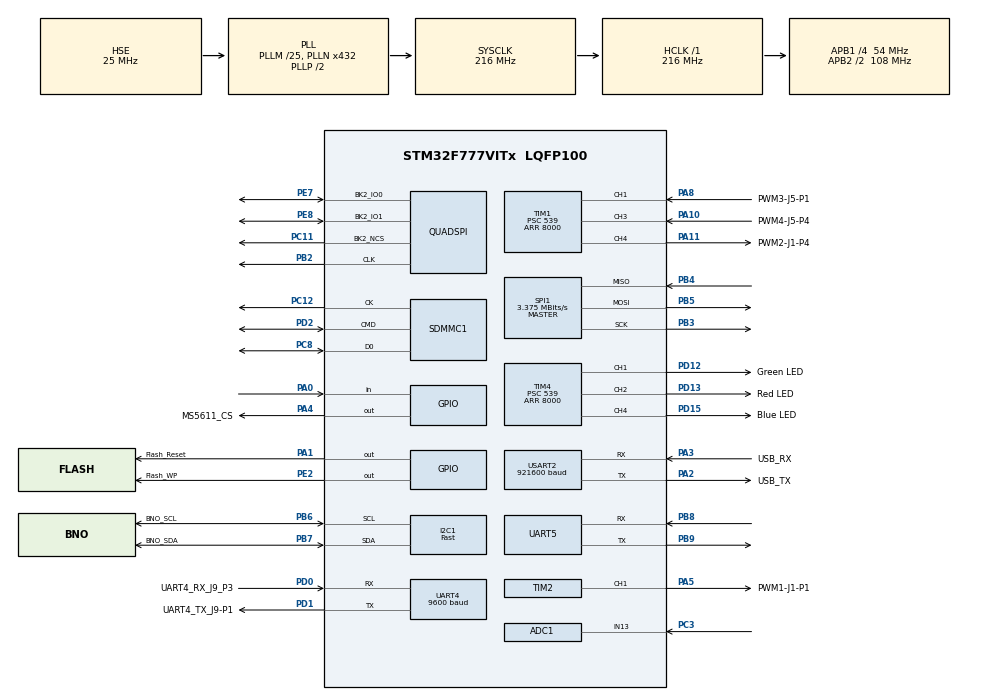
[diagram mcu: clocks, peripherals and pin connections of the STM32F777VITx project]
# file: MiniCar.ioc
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ADC1.Channel-0\#ChannelRegularConversion=ADC_CHANNEL_13
ADC1.ContinuousConvMode=ENABLE
ADC1.DMAContinuousRequests=DISABLE
ADC1.InjNumberOfConversion=0
ADC1.NbrOfConversionFlag=1
ADC1.Rank-0\#ChannelRegularConversion=1
ADC1.SamplingTime-0\#ChannelRegularConversion=ADC_SAMPLETIME_3CYCLES
ADC1.ScanConvMode=ADC_SCAN_ENABLE
ADC1.master=1
Dma.Request0=UART5_RX
Dma.Request1=USART2_RX
Dma.UART5_RX.0.Direction=DMA_PERIPH_TO_MEMORY
Dma.UART5_RX.0.FIFOMode=DMA_FIFOMODE_DISABLE
Dma.UART5_RX.0.Instance=DMA1_Stream0
Dma.UART5_RX.0.MemDataAlignment=DMA_MDATAALIGN_BYTE
Dma.UART5_RX.0.MemInc=DMA_MINC_ENABLE
Dma.UART5_RX.0.Mode=DMA_NORMAL
Dma.UART5_RX.0.PeriphDataAlignment=DMA_PDATAALIGN_BYTE
Dma.UART5_RX.0.PeriphInc=DMA_PINC_DISABLE
Dma.UART5_RX.0.Priority=DMA_PRIORITY_LOW
Dma.USART2_RX.1.Direction=DMA_PERIPH_TO_MEMORY
Dma.USART2_RX.1.FIFOMode=DMA_FIFOMODE_DISABLE
Dma.USART2_RX.1.Instance=DMA1_Stream5
Dma.USART2_RX.1.MemDataAlignment=DMA_MDATAALIGN_BYTE
Dma.USART2_RX.1.MemInc=DMA_MINC_ENABLE
Dma.USART2_RX.1.Mode=DMA_NORMAL
Dma.USART2_RX.1.PeriphDataAlignment=DMA_PDATAALIGN_BYTE
Dma.USART2_RX.1.PeriphInc=DMA_PINC_DISABLE
Dma.USART2_RX.1.Priority=DMA_PRIORITY_LOW
FATFS._FS_RPATH=1
FATFS._MAX_SS=4096
FATFS._MIN_SS=4096
FATFS._USE_CHMOD=1
FATFS._USE_FIND=1
FATFS._USE_LABEL=1
FATFS._USE_LFN=1
I2C1.GeneralCallMode=I2C_GENERALCALL_DISABLE
I2C1.I2C_Speed_Mode=I2C_Fast
I2C1.OwnAddress=0x29
I2C1.Timing=0x6000030D
Mcu.Family=STM32F7
Mcu.Name=STM32F777VITx
Mcu.Package=LQFP100
NVIC.ADC_IRQn=true\:0\:0\:false\:false\:true\:true\:true
NVIC.DMA1_Stream0_IRQn=true\:0\:0\:false\:false\:true\:false\:true
NVIC.DMA1_Stream5_IRQn=true\:0\:0\:false\:false\:true\:false\:true
NVIC.FLASH_IRQn=true\:0\:0\:false\:false\:true\:true\:true
NVIC.I2C1_EV_IRQn=true\:0\:0\:false\:false\:true\:true\:true
NVIC.PriorityGroup=NVIC_PRIORITYGROUP_4
NVIC.QUADSPI_IRQn=true\:0\:0\:false\:false\:true\:true\:true
NVIC.TIM1_BRK_TIM9_IRQn=true\:0\:0\:false\:false\:true\:true\:true
NVIC.TIM1_CC_IRQn=true\:0\:0\:false\:false\:true\:true\:true
NVIC.TIM1_TRG_COM_TIM11_IRQn=true\:0\:0\:false\:false\:true\:true\:true
NVIC.TIM1_UP_TIM10_IRQn=true\:0\:0\:false\:false\:true\:true\:true
NVIC.UART4_IRQn=true\:0\:0\:false\:false\:true\:true\:true
NVIC.UART5_IRQn=true\:0\:0\:false\:false\:true\:true\:true
PA0/WKUP.GPIO_PuPd=GPIO_PULLUP
PA0/WKUP.Signal=GPIO_Input
PA1.GPIO_Label=Flash_Reset
PA1.GPIO_PuPd=GPIO_PULLUP
PA1.PinState=GPIO_PIN_SET
PA1.Signal=GPIO_Output
PA10.GPIO_Label=PWM4-J5-P4
PA10.Signal=S_TIM1_CH3
PA11.GPIO_Label=PWM2-J1-P4
PA11.Signal=S_TIM1_CH4
PA13.Mode=Serial_Wire
PA13.Signal=SYS_JTMS-SWDIO
PA14.Mode=Serial_Wire
PA14.Signal=SYS_JTCK-SWCLK
PA2.GPIO_Label=USB_TX
PA2.Mode=Asynchronous
PA2.Signal=USART2_TX
PA3.GPIO_Label=USB_RX
PA3.Mode=Asynchronous
PA3.Signal=USART2_RX
PA4.GPIO_Label=MS5611_CS
PA4.Signal=GPIO_Output
PA5.GPIO_Label=PWM1-J1-P1
PA5.Signal=S_TIM2_CH1_ETR
PA8.GPIO_Label=PWM3-J5-P1
PA8.Signal=S_TIM1_CH1
PB2.Mode=Single Bank 2 2IOs
PB2.Signal=QUADSPI_CLK
PB3.Mode=Full_Duplex_Master
PB3.Signal=SPI1_SCK
PB4.Mode=Full_Duplex_Master
PB4.Signal=SPI1_MISO
PB5.Mode=Full_Duplex_Master
PB5.Signal=SPI1_MOSI
PB6.GPIO_Label=BNO_SCL
PB6.Mode=I2C
PB6.Signal=I2C1_SCL
PB7.GPIO_Label=BNO_SDA
PB7.Mode=I2C
PB7.Signal=I2C1_SDA
PB8.Mode=Asynchronous
PB8.Signal=UART5_RX
PB9.Mode=Asynchronous
PB9.Signal=UART5_TX
PC11.Mode=Single Bank 2 2IOs
PC11.Signal=QUADSPI_BK2_NCS
PC12.Mode=mmc_1_bit
PC12.Signal=SDMMC1_CK
PC13.GPIO_Label=AntiTamper
PC13.Mode=SYS_WakeUp3
PC13.Signal=SYS_WKUP4
PC14/OSC32_IN.Mode=LSE-External-Oscillator
PC14/OSC32_IN.Signal=RCC_OSC32_IN
PC15/OSC32_OUT.Mode=LSE-External-Oscillator
PC15/OSC32_OUT.Signal=RCC_OSC32_OUT
PC3.Signal=ADCx_IN13
PC8.Mode=mmc_1_bit
PC8.Signal=SDMMC1_D0
PD0.GPIO_Label=UART4_RX_J9_P3
PD0.Mode=Asynchronous
PD0.Signal=UART4_RX
PD1.GPIO_Label=UART4_TX_J9-P1
PD1.Mode=Asynchronous
PD1.Signal=UART4_TX
PD12.GPIO_Label=Green LED
PD12.Signal=S_TIM4_CH1
PD13.GPIO_Label=Red LED
PD13.Signal=S_TIM4_CH2
PD15.GPIO_Label=Blue LED
PD15.Signal=S_TIM4_CH4
PD2.Mode=mmc_1_bit
PD2.Signal=SDMMC1_CMD
PE2.GPIO_Label=Flash_WP
PE2.GPIO_PuPd=GPIO_PULLUP
PE2.PinState=GPIO_PIN_SET
PE2.Signal=GPIO_Output
PE7.Mode=Single Bank 2 2IOs
PE7.Signal=QUADSPI_BK2_IO0
PE8.Mode=Single Bank 2 2IOs
PE8.Signal=QUADSPI_BK2_IO1
PH0/OSC_IN.Mode=HSE-External-Oscillator
PH0/OSC_IN.Signal=RCC_OSC_IN
PH1/OSC_OUT.Mode=HSE-External-Oscillator
PH1/OSC_OUT.Signal=RCC_OSC_OUT
ProjectManager.HeapSize=0x2000
ProjectManager.StackSize=0x4000
ProjectManager.TargetToolchain=STM32CubeIDE
QUADSPI.FifoThreshold=32
QUADSPI.FlashSize=23
QUADSPI.SampleShifting=QSPI_SAMPLE_SHIFTING_HALFCYCLE
RCC.AHBFreq_Value=216000000
RCC.APB1CLKDivider=RCC_HCLK_DIV4
RCC.APB1Freq_Value=54000000
RCC.APB1TimFreq_Value=216000000
RCC.APB2CLKDivider=RCC_HCLK_DIV2
RCC.APB2Freq_Value=108000000
RCC.APB2TimFreq_Value=216000000
RCC.CortexFreq_Value=216000000
RCC.EnbaleCSS=true
RCC.HCLKFreq_Value=216000000
RCC.HSE_VALUE=25000000
RCC.HSI_VALUE=16000000
RCC.LSE_Timout=5000
RCC.PLLM=25
RCC.PLLN=432
RCC.PLLQ=9
RCC.PLLSourceVirtual=RCC_PLLSOURCE_HSE
RCC.PWR_Regulator_Voltage_Scale=PWR_REGULATOR_VOLTAGE_SCALE1
RCC.RCC_RTC_Clock_Source_FROM_HSE=RCC_RTCCLKSOURCE_HSE_DIV25
RCC.RCC_TIM_PRescaler_Selection=RCC_TIMPRES_ACTIVATED
RCC.RTCClockSelection=RCC_RTCCLKSOURCE_HSE_DIV25
RCC.SDMMCClockSelection=RCC_SDMMC1CLKSOURCE_CLK48
RCC.SYSCLKFreq_VALUE=216000000
RCC.SYSCLKSource=RCC_SYSCLKSOURCE_PLLCLK
RCC.USBFreq_Value=48000000
RCC.VCOOutputFreq_Value=432000000
RTC.AsynchPrediv=99
RTC.Format=RTC_FORMAT_BIN
RTC.SynchPrediv=9999
RTC.Year=20
SH.ADCx_IN13.0=ADC1_IN13,IN13
SH.S_TIM1_CH1.0=TIM1_CH1,Input_Capture1_from_TI1
SH.S_TIM1_CH3.0=TIM1_CH3,Input_Capture3_from_TI3
SH.S_TIM1_CH4.0=TIM1_CH4,PWM Generation4 CH4
SH.S_TIM2_CH1_ETR.0=TIM2_CH1,PWM Generation1 CH1
SH.S_TIM4_CH1.0=TIM4_CH1,PWM Generation1 CH1
SH.S_TIM4_CH2.0=TIM4_CH2,PWM Generation2 CH2
SH.S_TIM4_CH4.0=TIM4_CH4,PWM Generation4 CH4
SPI1.BaudRatePrescaler=SPI_BAUDRATEPRESCALER_32
SPI1.CalculateBaudRate=3.375 MBits/s
SPI1.DataSize=SPI_DATASIZE_8BIT
SPI1.Direction=SPI_DIRECTION_2LINES
SPI1.Mode=SPI_MODE_MASTER
SPI1.VirtualType=VM_MASTER
TIM1.AutoReloadPreload=TIM_AUTORELOAD_PRELOAD_ENABLE
TIM1.Channel-Input_Capture1_from_TI1=TIM_CHANNEL_1
TIM1.Channel-Input_Capture3_from_TI3=TIM_CHANNEL_3
TIM1.Channel-PWM\ Generation4\ CH4=TIM_CHANNEL_4
TIM1.ICPolarity_CH1=TIM_INPUTCHANNELPOLARITY_BOTHEDGE
TIM1.ICPolarity_CH3=TIM_INPUTCHANNELPOLARITY_BOTHEDGE
TIM1.Period=8000
TIM1.Prescaler=539
TIM1.Pulse-PWM\ Generation4\ CH4=600
TIM1.TIM_MasterOutputTrigger=TIM_TRGO_RESET
TIM1.TIM_MasterOutputTrigger2=TIM_TRGO2_RESET
TIM2.AutoReloadPreload=TIM_AUTORELOAD_PRELOAD_ENABLE
TIM2.Channel-PWM\ Generation1\ CH1=TIM_CHANNEL_1
TIM2.Period=8000
TIM2.Prescaler=539
TIM2.Pulse-PWM\ Generation1\ CH1=600
TIM4.AutoReloadPreload=TIM_AUTORELOAD_PRELOAD_ENABLE
TIM4.Channel-PWM\ Generation1\ CH1=TIM_CHANNEL_1
TIM4.Channel-PWM\ Generation2\ CH2=TIM_CHANNEL_2
TIM4.Channel-PWM\ Generation4\ CH4=TIM_CHANNEL_4
TIM4.Period=8000
TIM4.Prescaler=539
TIM4.Pulse-PWM\ Generation4\ CH4=0
UART4.BaudRate=9600
UART4.StopBits=UART_STOPBITS_2
UART5.OverSampling=UART_OVERSAMPLING_8
UART5.OverrunDisableParam=UART_ADVFEATURE_OVERRUN_DISABLE
USART2.BaudRate=921600
USART2.OverrunDisableParam=ADVFEATURE_OVERRUN_DISABLE
USART2.VirtualMode-Asynchronous=VM_ASYNC
VP_FATFS_VS_Generic.Mode=User_defined
VP_RTC_VS_RTC_Activate.Mode=RTC_Enabled
VP_RTC_VS_RTC_Calendar.Mode=RTC_Calendar
board=custom

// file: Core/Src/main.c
/* USER CODE BEGIN Header */
/**
 ******************************************************************************
 * @file           : main.c
 * @brief          : Main program body
 ******************************************************************************
 * @attention
 *
 * <h2><center>&copy; Copyright (c) 2020 STMicroelectronics.
 * All rights reserved.</center></h2>
 *
 * This software component is licensed by ST under BSD 3-Clause license,
 * the "License"; You may not use this file except in compliance with the
 * License. You may obtain a copy of the License at:
 *                        opensource.org/licenses/BSD-3-Clause
 *
 ******************************************************************************
 */
/* USER CODE END Header */
#include "main.h"
#include "fatfs.h"

/* USER CODE BEGIN Includes */
#include "stdio.h"
#include "string.h"
#include "stdint.h"
#include "PWMControl.h"
#include "LED.h"
#include "bno055.h"
#include "math.h"
#include "ff.h"
#include "ms5611.h"
#include "terminal.h"
#include "PushButton.h"
#include "FlashQSPIAgent.h"
#include "bno055_support.h"
#include "SerialAgent.h"
//#include "includes.h"
//#include "typedefs.h"
/* USER CODE END Includes */

ADC_HandleTypeDef hadc1;

I2C_HandleTypeDef hi2c1;

QSPI_HandleTypeDef hqspi;

RTC_HandleTypeDef hrtc;

MMC_HandleTypeDef hmmc1;

SPI_HandleTypeDef hspi1;

TIM_HandleTypeDef htim1;
TIM_HandleTypeDef htim2;
TIM_HandleTypeDef htim4;

UART_HandleTypeDef huart4;
UART_HandleTypeDef huart5;
UART_HandleTypeDef huart2;
DMA_HandleTypeDef hdma_uart5_rx;
DMA_HandleTypeDef hdma_usart2_rx;

/* USER CODE BEGIN PV */
char USBRXArray[1024] = {0};
char UART5RXArray[256] = {0};
char UART5TXArray[256] = {0};
char USBTXArray[4096] = "";

char TerminalBuffer[1024] = "";

char FileReadBuffer[1024] = "";

struct bno055_t bno055;
s32 comres = BNO055_ERROR;
u8 power_mode = BNO055_INIT_VALUE;
s16 accel_datax = BNO055_INIT_VALUE;
s16 accel_datay = BNO055_INIT_VALUE;
s16 accel_dataz = BNO055_INIT_VALUE;
double d_euler_data_h = BNO055_INIT_VALUE;
double d_euler_data_r = BNO055_INIT_VALUE;
double d_euler_data_p = BNO055_INIT_VALUE;
struct bno055_accel_t accel_xyz;
struct bno055_euler_double_t d_euler_hpr;
struct bno055_gravity_double_t d_gravity_xyz;
struct bno055_mag_double_t d_mag_xyz;

double Roll = 0;
double Pitch = 0;
double Yaw = 0;

double vBat = 0;

bool isNewMagDataAvailable = false;
bool MagWasInMax = true;
bool MagWasInMin = false;

bool ActiveLog = false;
bool isDebugMode = false;

FRESULT FS_ret2;

uint16_t RR1 = 0;
uint16_t RR2 = 0;
uint16_t RR3 = 0;
uint16_t SpeedCounter = 0;
uint16_t MeasuredRPM = 0;

uint32_t LastRPMCycle = 0;
uint32_t NumberOfByteRet = 0;
uint32_t LastBLERead = 0;
uint32_t LastTerminalRead = 0;
uint32_t BytesWritten = 0;
uint32_t LastBatteryMeasurement = 0;
uint32_t LastCRSFMessage = 0;
uint32_t LastDiffPrint = 0;
uint32_t PWMValue = 0;

uint8_t MID = 0;
uint8_t DID = 0;
uint8_t FinalAngle = 90;
uint8_t FinalPower = 0;
uint8_t CurrentAngle = 0;
uint8_t CurrentPower = 0;
uint8_t ret = 0;

//HAL_StatusTypeDef ret;
RTC_TamperTypeDef LocalsTamper;
/* USER CODE END PV */

void SystemClock_Config(void);
static void MX_GPIO_Init(void);
static void MX_DMA_Init(void);
static void MX_TIM4_Init(void);
static void MX_TIM1_Init(void);
static void MX_USART2_UART_Init(void);
static void MX_I2C1_Init(void);
static void MX_QUADSPI_Init(void);
static void MX_SDMMC1_MMC_Init(void);
static void MX_SPI1_Init(void);
static void MX_ADC1_Init(void);
static void MX_RTC_Init(void);
static void MX_TIM2_Init(void);
static void MX_UART5_Init(void);
static void MX_UART4_Init(void);
/* USER CODE BEGIN PFP */

double measureBattery();
/* USER CODE END PFP */

int main(void)
{
  /* USER CODE BEGIN 1 */
  //SCB->VTOR = 0x8020000;
  /* USER CODE END 1 */

  /* MCU Configuration--------------------------------------------------------*/

  /* Reset of all peripherals, Initializes the Flash interface and the Systick. */
  HAL_Init();

  /* Configure the system clock */
  SystemClock_Config();

  /* Initialize all configured peripherals */
  MX_GPIO_Init();
  MX_DMA_Init();
  MX_TIM4_Init();
  MX_TIM1_Init();
  MX_USART2_UART_Init();
  MX_I2C1_Init();
  MX_FATFS_Init();
  MX_QUADSPI_Init();
  MX_SDMMC1_MMC_Init();
  MX_SPI1_Init();
  MX_ADC1_Init();
  MX_RTC_Init();
  MX_TIM2_Init();
  MX_UART5_Init();
  MX_UART4_Init();
  /* USER CODE BEGIN 2 */
  HAL_TIM_PWM_Init(&htim1); // PWM Generation Servos
  HAL_TIM_PWM_Init(&htim4); // LED
  HAL_ADC_Start(&hadc1);    // Battery
                            //	HAL_TIM_IC_Init(&htim2);		//
                            //	HAL_TIM_IC_Start(&htim2, TIM_CHANNEL_1);
  RTC_TimeTypeDef LocalTime;
  RTC_TimeTypeDef ReadTime;
  RTC_DateTypeDef LocalDate;

  //	vBat = measureBattery();
  //
  //	MS56XXInit();

  //	HAL_GPIO_WritePin(GPIOC, GPIO_PIN_11, GPIO_PIN_RESET); 	// QSPI CS Low
  //	HAL_Delay(15);
  HAL_GPIO_WritePin(GPIOE, GPIO_PIN_2, GPIO_PIN_SET); // QSPI WP High
  HAL_Delay(1);
  HAL_GPIO_WritePin(GPIOA, GPIO_PIN_1, GPIO_PIN_RESET); // QSPI RST High
  HAL_Delay(1);
  HAL_GPIO_WritePin(GPIOA, GPIO_PIN_1, GPIO_PIN_SET); // QSPI RST High
  HAL_Delay(2);

  QSPI_Init();
//  Flash example
  QSPI_Read_Status_registers(&hqspi, &RR1, &RR2, &RR3);
  RR2 = 0x22;
  RR3 = 0x60;
  QSPI_Reset_Status_registers(&hqspi, &RR1, &RR2, &RR3);
  HAL_Delay(40);
  QSPI_READMD(&MID, &DID);

  QSPI_Read_Status_registers(&hqspi, &RR1, &RR2, &RR3);
  do
  {
    HAL_Delay(1);
    FS_ret2 = f_mount(&USERFatFS, "\\", 0);
  } while (FS_ret2 != FR_OK);

  DWORD free_clusters, free_sectors, total_sectors;

  FATFS *getFreeFs;
  uint8_t buffer[_MAX_SS];
  FS_ret2 = f_getfree("\\", &free_clusters, &getFreeFs);
  if (FS_ret2 != FR_OK)
  {
    FS_ret2 = f_mkfs("\\", FM_FAT, 0, buffer, sizeof(buffer));
  }

  total_sectors = (getFreeFs->n_fatent - 2) * getFreeFs->csize;
  free_sectors = free_clusters * getFreeFs->csize;

  vBat = measureBattery();
  MS56XXInit();
  BNOInit();
  led_init();
  SetRGB(0, 250, 0);

//  LocalsTamper.Trigger = RTC_TAMPERTRIGGER_FALLINGEDGE;
//  LocalsTamper.Tamper = RTC_TAMPER_1;
//  LocalsTamper.TamperPullUp = RTC_TAMPER_PULLUP_ENABLE;
//  LocalsTamper.Interrupt = RTC_TAMPER1_INTERRUPT;
//  HAL_RTCEx_SetTamper(&hrtc, &LocalsTamper);

//  readBNOAnglesDeg();
//  Read Data from terminal - Example
//  HAL_UART_Receive_DMA(&huart2, USBRXArray, 1024);
//  Write Data to terminal - Example
//  ret = HAL_UART_Transmit_DMA(&huart2, USBTXArray, 1024);

//  HAL_UART_Receive_DMA(&huart5, UART5RXArray, 150);
//  NumberOfByteRet = CheckDataFromUART();
  LastBLERead = HAL_GetTick();
  HAL_Delay(100);
//  *(volatile uint32_t *)0xbadcafe;

  start_pwm1(PWMValue); // Control Servo
  start_pwm2(FinalPower * 80);   // Control Car Motor
  start_pwm3();

  /* USER CODE END 2 */

  /* Infinite loop */
  while (1)
  {

    /* USER CODE BEGIN 3 */
	  readBNOAnglesDeg();
//	  if ((fabs(Roll) < 30) && (fabs(Pitch) < 30))
//	  {
//		  SetRGB(0, 250, 0);
//	  } else if ((fabs(Roll) < 65) && (fabs(Pitch) < 65))
//	  {
//		  SetRGB(250, 250, 0);
//	  } else
//	  {
//		  SetRGB(250, 0, 0);
//	  }
//	  sprintf(USBTXArray, "%6.3f, Roll: %6.3f, Pitch: %6.3f, Yaw: %6.3f\r\n",
//			  CurrentTime(), Roll, Pitch, Yaw);
//	  SendToScreen();

	  MS56XXCyclicRead();
	  if (isNewMS56XXDataAvailable)
	  {
		  sprintf(USBTXArray, "%6.3f, Pressure: %d, Temp: %d\r\n",
				  CurrentTime(), P, TEMP);
		  Print(false, true, isDebugMode);
		  isNewMS56XXDataAvailable = false;
	  }

    CheckButton();
//    readBNOMagnetometer();
//    if (isNewMagDataAvailable)
//    {
//      sprintf(USBTXArray, "%6.3f, MagX: %6.3f, MagY: %6.3f, MagZ: %6.3f\r\n",
//              CurrentTime(), d_mag_xyz.x, d_mag_xyz.y, d_mag_xyz.z);
//      SendToScreen();
//    }

//    example RTC
//    HAL_Delay(1);
//    HAL_RTC_GetTime(&hrtc, &ReadTime, FORMAT_BIN);
//    HAL_RTC_GetDate(&hrtc, &LocalDate, FORMAT_BIN);
//    sprintf(USBTXArray, "%6.3f, %02d:%02d:%02d.%03d\r\n",
//            CurrentTime(), ReadTime.Hours, ReadTime.Minutes, ReadTime.Seconds, (9999 - ReadTime.SubSeconds) * 1000 / 9999);
//    SendToScreen();
//	  HAL_RTCEx_GetTimeStamp(&hrtc, &ReadTime, &LocalDate, FORMAT_BIN);

//	  MeasuredRPM = RPMMeasurement();
//    LastRPMCycle++;
//    sprintf(UART5TXArray, "%d\r\n",LastRPMCycle);
    if (HAL_GetTick() - LastTerminalRead >= 100)
    {
        getCMD();
        LastTerminalRead = HAL_GetTick();
    }
//	Read Sticks messages received through BlueTooth unit
//    if (HAL_GetTick() - LastBLERead >= 100)
//    {
//    	LastBLERead = HAL_GetTick();
//    	NumberOfByteRet = CheckDataFromUART();
//    	ret = ParseRFMessage(&CurrentAngle, &CurrentPower);
//    	FinalAngle = CurrentAngle * (1 - ret) + FinalAngle * ret;
//    	FinalPower = CurrentPower * (1 - ret) + FinalPower * ret;
//
//    	////			  sprintf(USBTXArray, "%6.3f, ",CurrentTime());
//    	////			  SendToScreen(false);
//    	////			  memcpy(USBTXArray,UART5RXArray,NumberOfByteRet);
//    	////			  SendToScreen(true);
//    	////			  sprintf(USBTXArray,"Length of string a = %d \n",strlen(UART5RXArray));
//    	////			  SendToScreen(true);
//    	//			  sprintf(USBTXArray,"%6.3f, Angle: %d, Power: %d ret: %d \r\n",CurrentTime(), CurrentAngle, CurrentPower, ret);
//    	//			  SendToScreen(false);
//    	sprintf(USBTXArray,"%6.3f, FAngle: %d, FPower: %d ret: %d \r\n",CurrentTime(), FinalAngle, FinalPower, ret);
//    	SendToScreen(false);
//    }
    PWMValue = 1000 * ((2 - 1) * (double)FinalAngle / (135.0 - 45.0) + 0.5);
    set_pwm1(PWMValue);
    start_pwm2(FinalPower * 80);   // Control Car Motor

    if (HAL_GetTick() - LastRPMCycle >= 1000)
    {
    	LastRPMCycle = HAL_GetTick();
    	sprintf(USBTXArray, "%6.3f, \r\n",CurrentTime());
    	Print(false, true, isDebugMode);
//    	FS_ret2 = f_sync(&USERFile);
    }

    if (HAL_GetTick() - LastBatteryMeasurement > 5 * 60 * 1000)
    {
    	LastBatteryMeasurement = HAL_GetTick();
    	vBat = measureBattery();
    }
    ShowStateLED();
    if (HAL_GetTick() - LastDiffPrint > 100)
    {
    	sprintf(USBTXArray, "%6.3f, Difference: %d [mSec], Frequency: %d [Hz] \r\n",CurrentTime(), Difference * 10 / 4, Frequency);
    	Print(false, false, true);
    	LastDiffPrint = HAL_GetTick();
    }

    //
  }
  /* USER CODE END 3 */
}

void SystemClock_Config(void)
{
  RCC_OscInitTypeDef RCC_OscInitStruct = {0};
  RCC_ClkInitTypeDef RCC_ClkInitStruct = {0};
  RCC_PeriphCLKInitTypeDef PeriphClkInitStruct = {0};

  /** Configure LSE Drive Capability
  */
  HAL_PWR_EnableBkUpAccess();
  /** Configure the main internal regulator output voltage
  */
  __HAL_RCC_PWR_CLK_ENABLE();
  __HAL_PWR_VOLTAGESCALING_CONFIG(PWR_REGULATOR_VOLTAGE_SCALE1);
  /** Initializes the RCC Oscillators according to the specified parameters
  * in the RCC_OscInitTypeDef structure.
  */
  RCC_OscInitStruct.OscillatorType = RCC_OSCILLATORTYPE_HSE;
  RCC_OscInitStruct.HSEState = RCC_HSE_ON;
  RCC_OscInitStruct.PLL.PLLState = RCC_PLL_ON;
  RCC_OscInitStruct.PLL.PLLSource = RCC_PLLSOURCE_HSE;
  RCC_OscInitStruct.PLL.PLLM = 25;
  RCC_OscInitStruct.PLL.PLLN = 432;
  RCC_OscInitStruct.PLL.PLLP = RCC_PLLP_DIV2;
  RCC_OscInitStruct.PLL.PLLQ = 9;
  if (HAL_RCC_OscConfig(&RCC_OscInitStruct) != HAL_OK)
  {
    Error_Handler();
  }
  /** Activate the Over-Drive mode
  */
  if (HAL_PWREx_EnableOverDrive() != HAL_OK)
  {
    Error_Handler();
  }
  /** Initializes the CPU, AHB and APB buses clocks
  */
  RCC_ClkInitStruct.ClockType = RCC_CLOCKTYPE_HCLK|RCC_CLOCKTYPE_SYSCLK
                              |RCC_CLOCKTYPE_PCLK1|RCC_CLOCKTYPE_PCLK2;
  RCC_ClkInitStruct.SYSCLKSource = RCC_SYSCLKSOURCE_PLLCLK;
  RCC_ClkInitStruct.AHBCLKDivider = RCC_SYSCLK_DIV1;
  RCC_ClkInitStruct.APB1CLKDivider = RCC_HCLK_DIV4;
  RCC_ClkInitStruct.APB2CLKDivider = RCC_HCLK_DIV2;

  if (HAL_RCC_ClockConfig(&RCC_ClkInitStruct, FLASH_LATENCY_7) != HAL_OK)
  {
    Error_Handler();
  }
  PeriphClkInitStruct.PeriphClockSelection = RCC_PERIPHCLK_TIM|RCC_PERIPHCLK_RTC
                              |RCC_PERIPHCLK_USART2|RCC_PERIPHCLK_UART4
                              |RCC_PERIPHCLK_UART5|RCC_PERIPHCLK_I2C1
                              |RCC_PERIPHCLK_SDMMC1|RCC_PERIPHCLK_CLK48;
  PeriphClkInitStruct.RTCClockSelection = RCC_RTCCLKSOURCE_HSE_DIV25;
  PeriphClkInitStruct.Usart2ClockSelection = RCC_USART2CLKSOURCE_PCLK1;
  PeriphClkInitStruct.Uart4ClockSelection = RCC_UART4CLKSOURCE_PCLK1;
  PeriphClkInitStruct.Uart5ClockSelection = RCC_UART5CLKSOURCE_PCLK1;
  PeriphClkInitStruct.I2c1ClockSelection = RCC_I2C1CLKSOURCE_PCLK1;
  PeriphClkInitStruct.Clk48ClockSelection = RCC_CLK48SOURCE_PLL;
  PeriphClkInitStruct.Sdmmc1ClockSelection = RCC_SDMMC1CLKSOURCE_CLK48;
  PeriphClkInitStruct.TIMPresSelection = RCC_TIMPRES_ACTIVATED;

  if (HAL_RCCEx_PeriphCLKConfig(&PeriphClkInitStruct) != HAL_OK)
  {
    Error_Handler();
  }
  /** Enables the Clock Security System
  */
  HAL_RCC_EnableCSS();
}

static void MX_ADC1_Init(void)
{

  ADC_ChannelConfTypeDef sConfig = {0};

  /** Configure the global features of the ADC (Clock, Resolution, Data Alignment and number of conversion)
  */
  hadc1.Instance = ADC1;
  hadc1.Init.ClockPrescaler = ADC_CLOCK_SYNC_PCLK_DIV4;
  hadc1.Init.Resolution = ADC_RESOLUTION_12B;
  hadc1.Init.ScanConvMode = ADC_SCAN_ENABLE;
  hadc1.Init.ContinuousConvMode = ENABLE;
  hadc1.Init.DiscontinuousConvMode = DISABLE;
  hadc1.Init.ExternalTrigConvEdge = ADC_EXTERNALTRIGCONVEDGE_NONE;
  hadc1.Init.ExternalTrigConv = ADC_SOFTWARE_START;
  hadc1.Init.DataAlign = ADC_DATAALIGN_RIGHT;
  hadc1.Init.NbrOfConversion = 1;
  hadc1.Init.DMAContinuousRequests = DISABLE;
  hadc1.Init.EOCSelection = ADC_EOC_SINGLE_CONV;
  if (HAL_ADC_Init(&hadc1) != HAL_OK)
  {
    Error_Handler();
  }
  /** Configure for the selected ADC regular channel its corresponding rank in the sequencer and its sample time.
  */
  sConfig.Channel = ADC_CHANNEL_13;
  sConfig.Rank = ADC_REGULAR_RANK_1;
  sConfig.SamplingTime = ADC_SAMPLETIME_3CYCLES;
  if (HAL_ADC_ConfigChannel(&hadc1, &sConfig) != HAL_OK)
  {
    Error_Handler();
  }

}

static void MX_I2C1_Init(void)
{

  hi2c1.Instance = I2C1;
  hi2c1.Init.Timing = 0x6000030D;
  hi2c1.Init.OwnAddress1 = 82;
  hi2c1.Init.AddressingMode = I2C_ADDRESSINGMODE_7BIT;
  hi2c1.Init.DualAddressMode = I2C_DUALADDRESS_DISABLE;
  hi2c1.Init.OwnAddress2 = 0;
  hi2c1.Init.OwnAddress2Masks = I2C_OA2_NOMASK;
  hi2c1.Init.GeneralCallMode = I2C_GENERALCALL_DISABLE;
  hi2c1.Init.NoStretchMode = I2C_NOSTRETCH_DISABLE;
  if (HAL_I2C_Init(&hi2c1) != HAL_OK)
  {
    Error_Handler();
  }
  /** Configure Analogue filter
  */
  if (HAL_I2CEx_ConfigAnalogFilter(&hi2c1, I2C_ANALOGFILTER_ENABLE) != HAL_OK)
  {
    Error_Handler();
  }
  /** Configure Digital filter
  */
  if (HAL_I2CEx_ConfigDigitalFilter(&hi2c1, 0) != HAL_OK)
  {
    Error_Handler();
  }

}

static void MX_QUADSPI_Init(void)
{

  /* QUADSPI parameter configuration*/
  hqspi.Instance = QUADSPI;
  hqspi.Init.ClockPrescaler = 255;
  hqspi.Init.FifoThreshold = 32;
  hqspi.Init.SampleShifting = QSPI_SAMPLE_SHIFTING_HALFCYCLE;
  hqspi.Init.FlashSize = 23;
  hqspi.Init.ChipSelectHighTime = QSPI_CS_HIGH_TIME_1_CYCLE;
  hqspi.Init.ClockMode = QSPI_CLOCK_MODE_0;
  hqspi.Init.FlashID = QSPI_FLASH_ID_2;
  hqspi.Init.DualFlash = QSPI_DUALFLASH_DISABLE;
  if (HAL_QSPI_Init(&hqspi) != HAL_OK)
  {
    Error_Handler();
  }

}

static void MX_RTC_Init(void)
{

  RTC_TimeTypeDef sTime = {0};
  RTC_DateTypeDef sDate = {0};

  /** Initialize RTC Only
  */
  hrtc.Instance = RTC;
  hrtc.Init.HourFormat = RTC_HOURFORMAT_24;
  hrtc.Init.AsynchPrediv = 99;
  hrtc.Init.SynchPrediv = 9999;
  hrtc.Init.OutPut = RTC_OUTPUT_DISABLE;
  hrtc.Init.OutPutPolarity = RTC_OUTPUT_POLARITY_HIGH;
  hrtc.Init.OutPutType = RTC_OUTPUT_TYPE_OPENDRAIN;
  if (HAL_RTC_Init(&hrtc) != HAL_OK)
  {
    Error_Handler();
  }

  /** Initialize RTC and set the Time and Date
  */
  sTime.Hours = 0;
  sTime.Minutes = 0;
  sTime.Seconds = 0;
  sTime.DayLightSaving = RTC_DAYLIGHTSAVING_NONE;
  sTime.StoreOperation = RTC_STOREOPERATION_RESET;
  if (HAL_RTC_SetTime(&hrtc, &sTime, RTC_FORMAT_BIN) != HAL_OK)
  {
    Error_Handler();
  }
  sDate.WeekDay = RTC_WEEKDAY_MONDAY;
  sDate.Month = RTC_MONTH_JANUARY;
  sDate.Date = 1;
  sDate.Year = 20;

  if (HAL_RTC_SetDate(&hrtc, &sDate, RTC_FORMAT_BIN) != HAL_OK)
  {
    Error_Handler();
  }

}

static void MX_SDMMC1_MMC_Init(void)
{

  hmmc1.Instance = SDMMC1;
  hmmc1.Init.ClockEdge = SDMMC_CLOCK_EDGE_RISING;
  hmmc1.Init.ClockBypass = SDMMC_CLOCK_BYPASS_DISABLE;
  hmmc1.Init.ClockPowerSave = SDMMC_CLOCK_POWER_SAVE_DISABLE;
  hmmc1.Init.BusWide = SDMMC_BUS_WIDE_1B;
  hmmc1.Init.HardwareFlowControl = SDMMC_HARDWARE_FLOW_CONTROL_DISABLE;
  hmmc1.Init.ClockDiv = 0;
  if (HAL_MMC_Init(&hmmc1) != HAL_OK)
  {
    Error_Handler();
  }

}

static void MX_SPI1_Init(void)
{

  /* SPI1 parameter configuration*/
  hspi1.Instance = SPI1;
  hspi1.Init.Mode = SPI_MODE_MASTER;
  hspi1.Init.Direction = SPI_DIRECTION_2LINES;
  hspi1.Init.DataSize = SPI_DATASIZE_8BIT;
  hspi1.Init.CLKPolarity = SPI_POLARITY_LOW;
  hspi1.Init.CLKPhase = SPI_PHASE_1EDGE;
  hspi1.Init.NSS = SPI_NSS_SOFT;
  hspi1.Init.BaudRatePrescaler = SPI_BAUDRATEPRESCALER_32;
  hspi1.Init.FirstBit = SPI_FIRSTBIT_MSB;
  hspi1.Init.TIMode = SPI_TIMODE_DISABLE;
  hspi1.Init.CRCCalculation = SPI_CRCCALCULATION_DISABLE;
  hspi1.Init.CRCPolynomial = 7;
  hspi1.Init.CRCLength = SPI_CRC_LENGTH_DATASIZE;
  hspi1.Init.NSSPMode = SPI_NSS_PULSE_ENABLE;
  if (HAL_SPI_Init(&hspi1) != HAL_OK)
  {
    Error_Handler();
  }

}

static void MX_TIM1_Init(void)
{

  TIM_MasterConfigTypeDef sMasterConfig = {0};
  TIM_IC_InitTypeDef sConfigIC = {0};
  TIM_OC_InitTypeDef sConfigOC = {0};
  TIM_BreakDeadTimeConfigTypeDef sBreakDeadTimeConfig = {0};

  htim1.Instance = TIM1;
  htim1.Init.Prescaler = 539;
  htim1.Init.CounterMode = TIM_COUNTERMODE_UP;
  htim1.Init.Period = 8000;
  htim1.Init.ClockDivision = TIM_CLOCKDIVISION_DIV1;
  htim1.Init.RepetitionCounter = 0;
  htim1.Init.AutoReloadPreload = TIM_AUTORELOAD_PRELOAD_ENABLE;
  if (HAL_TIM_IC_Init(&htim1) != HAL_OK)
  {
    Error_Handler();
  }
  if (HAL_TIM_PWM_Init(&htim1) != HAL_OK)
  {
    Error_Handler();
  }
  sMasterConfig.MasterOutputTrigger = TIM_TRGO_RESET;
  sMasterConfig.MasterOutputTrigger2 = TIM_TRGO2_RESET;
  sMasterConfig.MasterSlaveMode = TIM_MASTERSLAVEMODE_DISABLE;
  if (HAL_TIMEx_MasterConfigSynchronization(&htim1, &sMasterConfig) != HAL_OK)
  {
    Error_Handler();
  }
  sConfigIC.ICPolarity = TIM_INPUTCHANNELPOLARITY_BOTHEDGE;
  sConfigIC.ICSelection = TIM_ICSELECTION_DIRECTTI;
  sConfigIC.ICPrescaler = TIM_ICPSC_DIV1;
  sConfigIC.ICFilter = 0;
  if (HAL_TIM_IC_ConfigChannel(&htim1, &sConfigIC, TIM_CHANNEL_1) != HAL_OK)
  {
    Error_Handler();
  }
  if (HAL_TIM_IC_ConfigChannel(&htim1, &sConfigIC, TIM_CHANNEL_3) != HAL_OK)
  {
    Error_Handler();
  }
  sConfigOC.OCMode = TIM_OCMODE_PWM1;
  sConfigOC.Pulse = 600;
  sConfigOC.OCPolarity = TIM_OCPOLARITY_HIGH;
  sConfigOC.OCFastMode = TIM_OCFAST_DISABLE;
  sConfigOC.OCIdleState = TIM_OCIDLESTATE_RESET;
  sConfigOC.OCNIdleState = TIM_OCNIDLESTATE_RESET;
  if (HAL_TIM_PWM_ConfigChannel(&htim1, &sConfigOC, TIM_CHANNEL_4) != HAL_OK)
  {
    Error_Handler();
  }
  sBreakDeadTimeConfig.OffStateRunMode = TIM_OSSR_DISABLE;
  sBreakDeadTimeConfig.OffStateIDLEMode = TIM_OSSI_DISABLE;
  sBreakDeadTimeConfig.LockLevel = TIM_LOCKLEVEL_OFF;
  sBreakDeadTimeConfig.DeadTime = 0;
  sBreakDeadTimeConfig.BreakState = TIM_BREAK_DISABLE;
  sBreakDeadTimeConfig.BreakPolarity = TIM_BREAKPOLARITY_HIGH;
  sBreakDeadTimeConfig.BreakFilter = 0;
  sBreakDeadTimeConfig.Break2State = TIM_BREAK2_DISABLE;
  sBreakDeadTimeConfig.Break2Polarity = TIM_BREAK2POLARITY_HIGH;
  sBreakDeadTimeConfig.Break2Filter = 0;
  sBreakDeadTimeConfig.AutomaticOutput = TIM_AUTOMATICOUTPUT_DISABLE;
  if (HAL_TIMEx_ConfigBreakDeadTime(&htim1, &sBreakDeadTimeConfig) != HAL_OK)
  {
    Error_Handler();
  }
  HAL_TIM_MspPostInit(&htim1);

}

static void MX_TIM2_Init(void)
{

  TIM_MasterConfigTypeDef sMasterConfig = {0};
  TIM_OC_InitTypeDef sConfigOC = {0};

  htim2.Instance = TIM2;
  htim2.Init.Prescaler = 539;
  htim2.Init.CounterMode = TIM_COUNTERMODE_UP;
  htim2.Init.Period = 8000;
  htim2.Init.ClockDivision = TIM_CLOCKDIVISION_DIV1;
  htim2.Init.AutoReloadPreload = TIM_AUTORELOAD_PRELOAD_ENABLE;
  if (HAL_TIM_PWM_Init(&htim2) != HAL_OK)
  {
    Error_Handler();
  }
  sMasterConfig.MasterOutputTrigger = TIM_TRGO_RESET;
  sMasterConfig.MasterSlaveMode = TIM_MASTERSLAVEMODE_DISABLE;
  if (HAL_TIMEx_MasterConfigSynchronization(&htim2, &sMasterConfig) != HAL_OK)
  {
    Error_Handler();
  }
  sConfigOC.OCMode = TIM_OCMODE_PWM1;
  sConfigOC.Pulse = 600;
  sConfigOC.OCPolarity = TIM_OCPOLARITY_HIGH;
  sConfigOC.OCFastMode = TIM_OCFAST_DISABLE;
  if (HAL_TIM_PWM_ConfigChannel(&htim2, &sConfigOC, TIM_CHANNEL_1) != HAL_OK)
  {
    Error_Handler();
  }
  HAL_TIM_MspPostInit(&htim2);

}

static void MX_TIM4_Init(void)
{

  TIM_MasterConfigTypeDef sMasterConfig = {0};
  TIM_OC_InitTypeDef sConfigOC = {0};

  htim4.Instance = TIM4;
  htim4.Init.Prescaler = 539;
  htim4.Init.CounterMode = TIM_COUNTERMODE_UP;
  htim4.Init.Period = 8000;
  htim4.Init.ClockDivision = TIM_CLOCKDIVISION_DIV1;
  htim4.Init.AutoReloadPreload = TIM_AUTORELOAD_PRELOAD_ENABLE;
  if (HAL_TIM_PWM_Init(&htim4) != HAL_OK)
  {
    Error_Handler();
  }
  sMasterConfig.MasterOutputTrigger = TIM_TRGO_RESET;
  sMasterConfig.MasterSlaveMode = TIM_MASTERSLAVEMODE_DISABLE;
  if (HAL_TIMEx_MasterConfigSynchronization(&htim4, &sMasterConfig) != HAL_OK)
  {
    Error_Handler();
  }
  sConfigOC.OCMode = TIM_OCMODE_PWM1;
  sConfigOC.Pulse = 0;
  sConfigOC.OCPolarity = TIM_OCPOLARITY_HIGH;
  sConfigOC.OCFastMode = TIM_OCFAST_DISABLE;
  if (HAL_TIM_PWM_ConfigChannel(&htim4, &sConfigOC, TIM_CHANNEL_1) != HAL_OK)
  {
    Error_Handler();
  }
  if (HAL_TIM_PWM_ConfigChannel(&htim4, &sConfigOC, TIM_CHANNEL_2) != HAL_OK)
  {
    Error_Handler();
  }
  if (HAL_TIM_PWM_ConfigChannel(&htim4, &sConfigOC, TIM_CHANNEL_4) != HAL_OK)
  {
    Error_Handler();
  }
  HAL_TIM_MspPostInit(&htim4);

}

static void MX_UART4_Init(void)
{

  huart4.Instance = UART4;
  huart4.Init.BaudRate = 9600;
  huart4.Init.WordLength = UART_WORDLENGTH_8B;
  huart4.Init.StopBits = UART_STOPBITS_2;
  huart4.Init.Parity = UART_PARITY_NONE;
  huart4.Init.Mode = UART_MODE_TX_RX;
  huart4.Init.HwFlowCtl = UART_HWCONTROL_NONE;
  huart4.Init.OverSampling = UART_OVERSAMPLING_16;
  huart4.Init.OneBitSampling = UART_ONE_BIT_SAMPLE_DISABLE;
  huart4.AdvancedInit.AdvFeatureInit = UART_ADVFEATURE_NO_INIT;
  if (HAL_UART_Init(&huart4) != HAL_OK)
  {
    Error_Handler();
  }

}

static void MX_UART5_Init(void)
{

  huart5.Instance = UART5;
  huart5.Init.BaudRate = 115200;
  huart5.Init.WordLength = UART_WORDLENGTH_8B;
  huart5.Init.StopBits = UART_STOPBITS_1;
  huart5.Init.Parity = UART_PARITY_NONE;
  huart5.Init.Mode = UART_MODE_TX_RX;
  huart5.Init.HwFlowCtl = UART_HWCONTROL_NONE;
  huart5.Init.OverSampling = UART_OVERSAMPLING_8;
  huart5.Init.OneBitSampling = UART_ONE_BIT_SAMPLE_DISABLE;
  huart5.AdvancedInit.AdvFeatureInit = UART_ADVFEATURE_RXOVERRUNDISABLE_INIT;
  huart5.AdvancedInit.OverrunDisable = UART_ADVFEATURE_OVERRUN_DISABLE;
  if (HAL_UART_Init(&huart5) != HAL_OK)
  {
    Error_Handler();
  }

}

static void MX_USART2_UART_Init(void)
{

  huart2.Instance = USART2;
  huart2.Init.BaudRate = 921600;
  huart2.Init.WordLength = UART_WORDLENGTH_8B;
  huart2.Init.StopBits = UART_STOPBITS_1;
  huart2.Init.Parity = UART_PARITY_NONE;
  huart2.Init.Mode = UART_MODE_TX_RX;
  huart2.Init.HwFlowCtl = UART_HWCONTROL_NONE;
  huart2.Init.OverSampling = UART_OVERSAMPLING_16;
  huart2.Init.OneBitSampling = UART_ONE_BIT_SAMPLE_DISABLE;
  huart2.AdvancedInit.AdvFeatureInit = UART_ADVFEATURE_RXOVERRUNDISABLE_INIT;
  huart2.AdvancedInit.OverrunDisable = UART_ADVFEATURE_OVERRUN_DISABLE;
  if (HAL_UART_Init(&huart2) != HAL_OK)
  {
    Error_Handler();
  }

}

static void MX_DMA_Init(void)
{

  /* DMA controller clock enable */
  __HAL_RCC_DMA1_CLK_ENABLE();

  /* DMA interrupt init */
  /* DMA1_Stream0_IRQn interrupt configuration */
  HAL_NVIC_SetPriority(DMA1_Stream0_IRQn, 0, 0);
  HAL_NVIC_EnableIRQ(DMA1_Stream0_IRQn);
  /* DMA1_Stream5_IRQn interrupt configuration */
  HAL_NVIC_SetPriority(DMA1_Stream5_IRQn, 0, 0);
  HAL_NVIC_EnableIRQ(DMA1_Stream5_IRQn);

}

static void MX_GPIO_Init(void)
{
  GPIO_InitTypeDef GPIO_InitStruct = {0};

  /* GPIO Ports Clock Enable */
  __HAL_RCC_GPIOE_CLK_ENABLE();
  __HAL_RCC_GPIOC_CLK_ENABLE();
  __HAL_RCC_GPIOH_CLK_ENABLE();
  __HAL_RCC_GPIOA_CLK_ENABLE();
  __HAL_RCC_GPIOB_CLK_ENABLE();
  __HAL_RCC_GPIOD_CLK_ENABLE();

  /*Configure GPIO pin Output Level */
  HAL_GPIO_WritePin(Flash_WP_GPIO_Port, Flash_WP_Pin, GPIO_PIN_SET);

  /*Configure GPIO pin Output Level */
  HAL_GPIO_WritePin(Flash_Reset_GPIO_Port, Flash_Reset_Pin, GPIO_PIN_SET);

  /*Configure GPIO pin Output Level */
  HAL_GPIO_WritePin(MS5611_CS_GPIO_Port, MS5611_CS_Pin, GPIO_PIN_RESET);

  /*Configure GPIO pin : Flash_WP_Pin */
  GPIO_InitStruct.Pin = Flash_WP_Pin;
  GPIO_InitStruct.Mode = GPIO_MODE_OUTPUT_PP;
  GPIO_InitStruct.Pull = GPIO_PULLUP;
  GPIO_InitStruct.Speed = GPIO_SPEED_FREQ_LOW;
  HAL_GPIO_Init(Flash_WP_GPIO_Port, &GPIO_InitStruct);

  /*Configure GPIO pins : PE3 PE4 PE5 PE6
                           PE9 PE10 PE11 PE12
                           PE13 PE14 PE15 PE0
                           PE1 */
  GPIO_InitStruct.Pin = GPIO_PIN_3|GPIO_PIN_4|GPIO_PIN_5|GPIO_PIN_6
                          |GPIO_PIN_9|GPIO_PIN_10|GPIO_PIN_11|GPIO_PIN_12
                          |GPIO_PIN_13|GPIO_PIN_14|GPIO_PIN_15|GPIO_PIN_0
                          |GPIO_PIN_1;
  GPIO_InitStruct.Mode = GPIO_MODE_ANALOG;
  GPIO_InitStruct.Pull = GPIO_NOPULL;
  HAL_GPIO_Init(GPIOE, &GPIO_InitStruct);

  /*Configure GPIO pins : PC0 PC1 PC2 PC4
                           PC5 PC6 PC7 PC9
                           PC10 */
  GPIO_InitStruct.Pin = GPIO_PIN_0|GPIO_PIN_1|GPIO_PIN_2|GPIO_PIN_4
                          |GPIO_PIN_5|GPIO_PIN_6|GPIO_PIN_7|GPIO_PIN_9
                          |GPIO_PIN_10;
  GPIO_InitStruct.Mode = GPIO_MODE_ANALOG;
  GPIO_InitStruct.Pull = GPIO_NOPULL;
  HAL_GPIO_Init(GPIOC, &GPIO_InitStruct);

  /*Configure GPIO pin : PA0 */
  GPIO_InitStruct.Pin = GPIO_PIN_0;
  GPIO_InitStruct.Mode = GPIO_MODE_INPUT;
  GPIO_InitStruct.Pull = GPIO_PULLUP;
  HAL_GPIO_Init(GPIOA, &GPIO_InitStruct);

  /*Configure GPIO pin : Flash_Reset_Pin */
  GPIO_InitStruct.Pin = Flash_Reset_Pin;
  GPIO_InitStruct.Mode = GPIO_MODE_OUTPUT_PP;
  GPIO_InitStruct.Pull = GPIO_PULLUP;
  GPIO_InitStruct.Speed = GPIO_SPEED_FREQ_LOW;
  HAL_GPIO_Init(Flash_Reset_GPIO_Port, &GPIO_InitStruct);

  /*Configure GPIO pin : MS5611_CS_Pin */
  GPIO_InitStruct.Pin = MS5611_CS_Pin;
  GPIO_InitStruct.Mode = GPIO_MODE_OUTPUT_PP;
  GPIO_InitStruct.Pull = GPIO_NOPULL;
  GPIO_InitStruct.Speed = GPIO_SPEED_FREQ_LOW;
  HAL_GPIO_Init(MS5611_CS_GPIO_Port, &GPIO_InitStruct);

  /*Configure GPIO pins : PA6 PA7 PA9 PA12
                           PA15 */
  GPIO_InitStruct.Pin = GPIO_PIN_6|GPIO_PIN_7|GPIO_PIN_9|GPIO_PIN_12
                          |GPIO_PIN_15;
  GPIO_InitStruct.Mode = GPIO_MODE_ANALOG;
  GPIO_InitStruct.Pull = GPIO_NOPULL;
  HAL_GPIO_Init(GPIOA, &GPIO_InitStruct);

  /*Configure GPIO pins : PB0 PB1 PB10 PB11
                           PB12 PB13 PB14 PB15 */
  GPIO_InitStruct.Pin = GPIO_PIN_0|GPIO_PIN_1|GPIO_PIN_10|GPIO_PIN_11
                          |GPIO_PIN_12|GPIO_PIN_13|GPIO_PIN_14|GPIO_PIN_15;
  GPIO_InitStruct.Mode = GPIO_MODE_ANALOG;
  GPIO_InitStruct.Pull = GPIO_NOPULL;
  HAL_GPIO_Init(GPIOB, &GPIO_InitStruct);

  /*Configure GPIO pins : PD8 PD9 PD10 PD11
                           PD14 PD3 PD4 PD5
                           PD6 PD7 */
  GPIO_InitStruct.Pin = GPIO_PIN_8|GPIO_PIN_9|GPIO_PIN_10|GPIO_PIN_11
                          |GPIO_PIN_14|GPIO_PIN_3|GPIO_PIN_4|GPIO_PIN_5
                          |GPIO_PIN_6|GPIO_PIN_7;
  GPIO_InitStruct.Mode = GPIO_MODE_ANALOG;
  GPIO_InitStruct.Pull = GPIO_NOPULL;
  HAL_GPIO_Init(GPIOD, &GPIO_InitStruct);

}

/* USER CODE BEGIN 4 */
double CurrentTime(void)
{
  return HAL_GetTick() / 1000.0;
}

double measureBattery()
{
  uint32_t D = HAL_ADC_GetValue(&hadc1);
  return 2 * 3.3 * D / 4096.0;
}

/* USER CODE END 4 */

void Error_Handler(void)
{
}

/************************ (C) COPYRIGHT STMicroelectronics *****END OF FILE****/
